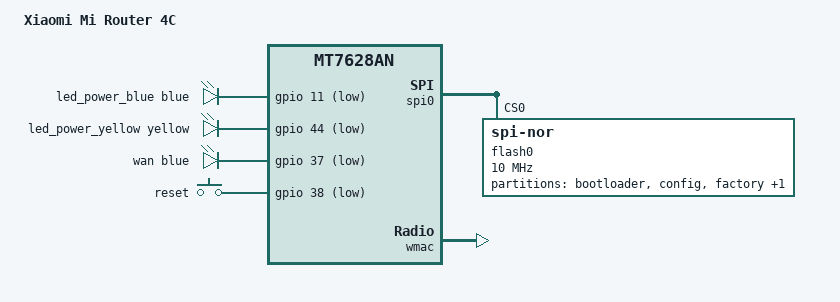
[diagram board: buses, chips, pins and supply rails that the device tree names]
// SPDX-License-Identifier: GPL-2.0-or-later OR MIT

#include "mt7628an.dtsi"

#include <dt-bindings/gpio/gpio.h>
#include <dt-bindings/input/input.h>
#include <dt-bindings/leds/common.h>

/ {
	compatible = "xiaomi,mi-router-4c", "mediatek,mt7628an-soc";
	model = "Xiaomi Mi Router 4C";

	aliases {
		led-boot = &led_power_yellow;
		led-failsafe = &led_power_yellow;
		led-running = &led_power_blue;
		led-upgrade = &led_power_yellow;
		label-mac-device = &ethernet;
	};

    chosen {
		bootargs = "console=ttyS0,115200";
	};

	leds {
		compatible = "gpio-leds";

		led_power_blue: power_blue {
			function = LED_FUNCTION_POWER;
			color = <LED_COLOR_ID_BLUE>;
			gpios = <&gpio 11 GPIO_ACTIVE_LOW>;
		};

		led_power_yellow: power_yellow {
			function = LED_FUNCTION_POWER;
			color = <LED_COLOR_ID_YELLOW>;
			gpios = <&gpio 44 GPIO_ACTIVE_LOW>;
		};

		wan {
			function = LED_FUNCTION_WAN;
			color = <LED_COLOR_ID_BLUE>;
			gpios = <&gpio 37 GPIO_ACTIVE_LOW>;
		};

	};

	keys {
		compatible = "gpio-keys";

		reset {
			label = "reset";
			gpios = <&gpio 38 GPIO_ACTIVE_LOW>;
			linux,code = <KEY_RESTART>;
		};
	};

};

&spi0 {
	status = "okay";

	flash0: flash@0 {
		compatible = "jedec,spi-nor";
		reg = <0>;
		spi-max-frequency = <10000000>;

		partitions: partitions {
			compatible = "fixed-partitions";
			#address-cells = <1>;
			#size-cells = <1>;

			partition@0 {
				label = "bootloader";
				reg = <0x0 0x30000>;
				read-only;
			};

			partition@30000 {
				label = "config";
				reg = <0x30000 0x40000>;
				read-only;
			};

			partition@40000 {
				label = "factory";
				reg = <0x40000 0x50000>;
				read-only;

				nvmem-layout {
					compatible = "fixed-layout";
					#address-cells = <1>;
					#size-cells = <1>;

					eeprom_factory_0: eeprom@0 {
						reg = <0x0 0x400>;
					};

					eeprom_factory_8000: eeprom@8000 {
						reg = <0x8000 0x200>;
					};

					macaddr_factory_4: macaddr@4 {
						compatible = "mac-base";
						reg = <0x4 0x6>;
						#nvmem-cell-cells = <1>;
					};

					macaddr_factory_28: macaddr@28 {
						reg = <0x28 0x6>;
					};
				};
			};

			partition@50000 {
		        label = "firmware";
		        reg = <0x50000 0xf80000>;
		        compatible = "denx,uimage";
	        };

			/* additional partitions in DTS */
		};
	};
};

&state_default {
	gpio {
		groups = "gpio", "refclk", "wdt", "wled_an";
		function = "gpio";
	};
};

&ethernet {
	nvmem-cells = <&macaddr_factory_28>;
	nvmem-cell-names = "mac-address";
};

&esw {
	mediatek,portmap = <0x3d>;
	mediatek,portdisable = <0x29>;
};

&wmac {
	status = "okay";

	nvmem-cells = <&eeprom_factory_0>;
	nvmem-cell-names = "eeprom";
};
